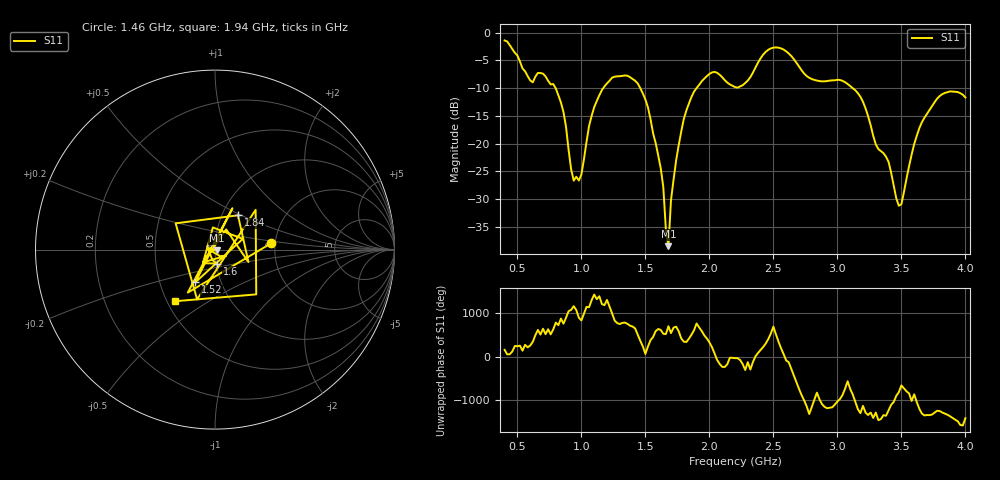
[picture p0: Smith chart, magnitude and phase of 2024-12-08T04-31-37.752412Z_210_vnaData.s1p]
!Created with skrf (http://scikit-rf.org).
# Hz S RI R 50.0
!freq ReS11 ImS11
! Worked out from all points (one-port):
!   181 points, 400 MHz to 4 GHz, reference 50 ohm
!   lowest |S11| = -38.5 dB at 1.68 GHz (marker M1), VSWR 1.02, Z = 51.1 - j0.399 ohm
!   |S11| at or under -10 dB: 798.8 MHz to 1.17 GHz (371.5 MHz wide, 37.7 % of centre); 1.46 GHz to 1.899 GHz (439.2 MHz wide, 26.1 % of centre); 3.12 GHz to end of sweep
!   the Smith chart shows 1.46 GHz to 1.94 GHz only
!   S11 on the Smith chart (normalised r, x): 1.46 GHz: 1.91, +0.15; 1.52 GHz: 0.76, -0.29; 1.6 GHz: 1.01, -0.16; 1.84 GHz: 1.19, +0.48; 1.94 GHz: 0.55, -0.36
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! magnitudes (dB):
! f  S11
! 400 MHz  -1.4
! 600 MHz  -8.6
! 780 MHz  -9.2
! 860 MHz  -14.3
! 920 MHz  -24.7
! 980 MHz  -26.6
! 1.1 GHz  -13.4
! 1.3 GHz  -7.8
! 1.46 GHz  -10.0
! 1.52 GHz  -13.5
! 1.6 GHz  -22.1
! 1.64 GHz  -27.8
! 1.66 GHz  -35.5
! 1.68 GHz  -38.5
! 1.7 GHz  -30.2
! 1.76 GHz  -20.3
! 1.84 GHz  -12.8
! 1.94 GHz  -8.8
! 2.2 GHz  -9.8
! 2.48 GHz  -2.8
! 2.66 GHz  -4.8
! 3.1 GHz  -9.6
! 3.4 GHz  -23.3
! 3.48 GHz  -31.2
! 3.56 GHz  -24.1
! 3.64 GHz  -17.2
! 3.78 GHz  -11.9
! 4 GHz  -11.7
